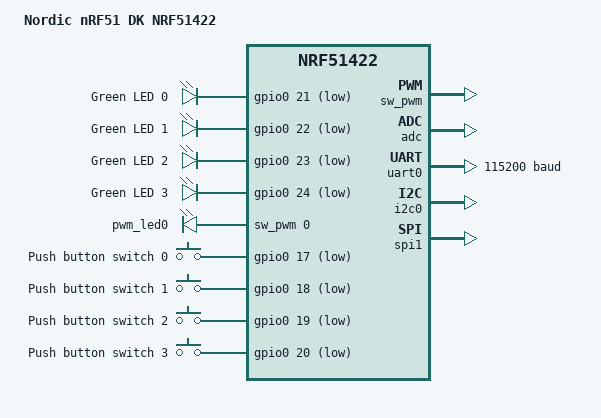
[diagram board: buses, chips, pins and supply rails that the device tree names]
/*
 * Copyright (c) 2017 Linaro Limited
 *
 * SPDX-License-Identifier: Apache-2.0
 */

/dts-v1/;
#include <nordic/nrf51822_qfac.dtsi>
#include "nrf51dk_nrf51422-pinctrl.dtsi"

/ {
	model = "Nordic nRF51 DK NRF51422";
	compatible = "nordic,nrf51-dk-nrf51422";

	chosen {
		zephyr,console = &uart0;
		zephyr,shell-uart = &uart0;
		zephyr,uart-mcumgr = &uart0;
		zephyr,bt-mon-uart = &uart0;
		zephyr,bt-c2h-uart = &uart0;
		zephyr,sram = &sram0;
		zephyr,flash = &flash0;
		zephyr,code-partition = &slot0_partition;
	};

	leds {
		compatible = "gpio-leds";
		led0: led_0 {
			gpios = <&gpio0 21 GPIO_ACTIVE_LOW>;
			label = "Green LED 0";
		};
		led1: led_1 {
			gpios = <&gpio0 22 GPIO_ACTIVE_LOW>;
			label = "Green LED 1";
		};
		led2: led_2 {
			gpios = <&gpio0 23 GPIO_ACTIVE_LOW>;
			label = "Green LED 2";
		};
		led3: led_3 {
			gpios = <&gpio0 24 GPIO_ACTIVE_LOW>;
			label = "Green LED 3";
		};
	};

	pwmleds {
		compatible = "pwm-leds";
		pwm_led0: pwm_led_0 {
			pwms = <&sw_pwm 0 PWM_MSEC(20) PWM_POLARITY_INVERTED>;
		};
	};

	buttons {
		compatible = "gpio-keys";
		button0: button_0 {
			gpios = <&gpio0 17 (GPIO_PULL_UP | GPIO_ACTIVE_LOW)>;
			label = "Push button switch 0";
		};
		button1: button_1 {
			gpios = <&gpio0 18 (GPIO_PULL_UP | GPIO_ACTIVE_LOW)>;
			label = "Push button switch 1";
		};
		button2: button_2 {
			gpios = <&gpio0 19 (GPIO_PULL_UP | GPIO_ACTIVE_LOW)>;
			label = "Push button switch 2";
		};
		button3: button_3 {
			gpios = <&gpio0 20 (GPIO_PULL_UP | GPIO_ACTIVE_LOW)>;
			label = "Push button switch 3";
		};
	};

	/* These aliases are provided for compatibility with samples */
	aliases {
		led0 = &led0;
		led1 = &led1;
		led2 = &led2;
		led3 = &led3;
		pwm-led0 = &pwm_led0;
		sw0 = &button0;
		sw1 = &button1;
		sw2 = &button2;
		sw3 = &button3;
		bootloader-led0 = &led0;
		mcuboot-button0 = &button0;
		mcuboot-led0 = &led0;
	};
};

&sw_pwm {
	status ="okay";
	channel-gpios = <&gpio0 21 0>;
	clock-prescaler = <8>;
};

&gpiote {
	status = "okay";
};

&gpio0 {
	status = "okay";
};

&adc {
	status = "okay";
};

&uart0 {
	current-speed = <115200>;
	status = "okay";
	pinctrl-0 = <&uart0_default>;
	pinctrl-1 = <&uart0_sleep>;
	pinctrl-names = "default", "sleep";
};

&i2c0 {
	status = "okay";
	pinctrl-0 = <&i2c0_default>;
	pinctrl-1 = <&i2c0_sleep>;
	pinctrl-names = "default", "sleep";
};

&i2c1 {
	/* Cannot be used together with spi1. */
	/* status = "okay"; */
	pinctrl-0 = <&i2c1_default>;
	pinctrl-1 = <&i2c1_sleep>;
	pinctrl-names = "default", "sleep";
};

&spi0 {
	/* Cannot be used together with i2c0. */
	/* status = "okay"; */
	pinctrl-0 = <&spi0_default>;
	pinctrl-1 = <&spi0_sleep>;
	pinctrl-names = "default", "sleep";
};

&spi1 {
	compatible = "nordic,nrf-spi";
	status = "okay";
	pinctrl-0 = <&spi1_default>;
	pinctrl-1 = <&spi1_sleep>;
	pinctrl-names = "default", "sleep";
};

&flash0 {

	partitions {
		compatible = "fixed-partitions";
		#address-cells = <1>;
		#size-cells = <1>;

		boot_partition: partition@0 {
			label = "mcuboot";
			reg = <0x00000000 0x8000>;
		};
		slot0_partition: partition@8000 {
			label = "image-0";
			reg = <0x00008000 0x1a000>;
		};
		slot1_partition: partition@22000 {
			label = "image-1";
			reg = <0x00022000 0x1a000>;
		};
		scratch_partition: partition@3c000 {
			label = "image-scratch";
			reg = <0x0003c000 0x2000>;
		};
		storage_partition: partition@3e000 {
			label = "storage";
			reg = <0x0003e000 0x00002000>;
		};
	};
};
